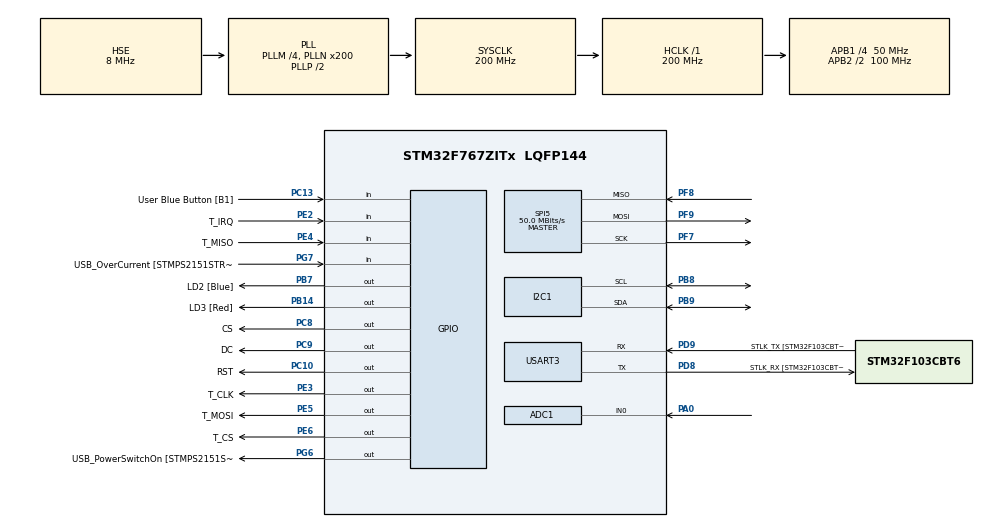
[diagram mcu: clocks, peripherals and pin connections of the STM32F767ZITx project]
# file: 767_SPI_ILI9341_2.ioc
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ADC1.Channel-0\#ChannelRegularConversion=ADC_CHANNEL_0
ADC1.NbrOfConversionFlag=1
ADC1.Rank-0\#ChannelRegularConversion=1
ADC1.SamplingTime-0\#ChannelRegularConversion=ADC_SAMPLETIME_3CYCLES
ADC1.master=1
CORTEX_M7.ART_ACCLERATOR_ENABLE=1
CORTEX_M7.CPU_DCache=Enabled
CORTEX_M7.CPU_ICache=Enabled
CORTEX_M7.PREFETCH_ENABLE=1
I2C1.Timing=0x00C0EAFF
Mcu.Family=STM32F7
Mcu.Name=STM32F767ZITx
Mcu.Package=LQFP144
NVIC.PriorityGroup=NVIC_PRIORITYGROUP_4
NVIC.TIM2_IRQn=true\:1\:0\:true\:false\:true\:true\:true\:true
PA0/WKUP.Signal=ADCx_IN0
PA1.GPIO_Label=RMII_REF_CLK [LAN8742A-CZ-TR_REFCLK0]
PA1.Signal=ETH_REF_CLK
PA13.GPIO_Label=TMS
PA13.Mode=Serial_Wire
PA13.Signal=SYS_JTMS-SWDIO
PA14.GPIO_Label=TCK
PA14.Mode=Serial_Wire
PA14.Signal=SYS_JTCK-SWCLK
PA2.GPIO_Label=RMII_MDIO [LAN8742A-CZ-TR_MDIO]
PA2.Signal=ETH_MDIO
PA7.GPIO_Label=RMII_CRS_DV [LAN8742A-CZ-TR_CRS_DV]
PA7.Signal=ETH_CRS_DV
PB13.GPIO_Label=RMII_TXD1 [LAN8742A-CZ-TR_TXD1]
PB13.Signal=ETH_TXD1
PB14.GPIO_Label=LD3 [Red]
PB14.Signal=GPIO_Output
PB3.GPIO_Label=SWO
PB3.Signal=SYS_JTDO-SWO
PB7.GPIO_Label=LD2 [Blue]
PB7.Signal=GPIO_Output
PB8.Mode=I2C
PB8.Signal=I2C1_SCL
PB9.Mode=I2C
PB9.Signal=I2C1_SDA
PC1.GPIO_Label=RMII_MDC [LAN8742A-CZ-TR_MDC]
PC1.Signal=ETH_MDC
PC10.GPIO_Label=RST
PC10.GPIO_Speed=GPIO_SPEED_FREQ_VERY_HIGH
PC10.Signal=GPIO_Output
PC13.GPIO_Label=User Blue Button [B1]
PC13.Signal=GPIO_Input
PC14/OSC32_IN.Mode=LSE-External-Oscillator
PC14/OSC32_IN.Signal=RCC_OSC32_IN
PC15/OSC32_OUT.Mode=LSE-External-Oscillator
PC15/OSC32_OUT.Signal=RCC_OSC32_OUT
PC4.GPIO_Label=RMII_RXD0 [LAN8742A-CZ-TR_RXD0]
PC4.Signal=ETH_RXD0
PC5.GPIO_Label=RMII_RXD1 [LAN8742A-CZ-TR_RXD1]
PC5.Signal=ETH_RXD1
PC8.GPIO_Label=CS
PC8.GPIO_Speed=GPIO_SPEED_FREQ_VERY_HIGH
PC8.Signal=GPIO_Output
PC9.GPIO_Label=DC
PC9.GPIO_Speed=GPIO_SPEED_FREQ_VERY_HIGH
PC9.Signal=GPIO_Output
PD8.GPIO_Label=STLK_RX [STM32F103CBT6_PA3]
PD8.Mode=Asynchronous
PD8.Signal=USART3_TX
PD9.GPIO_Label=STLK_TX [STM32F103CBT6_PA2]
PD9.Mode=Asynchronous
PD9.Signal=USART3_RX
PE2.GPIO_Label=T_IRQ
PE2.Signal=GPIO_Input
PE3.GPIO_Label=T_CLK
PE3.GPIO_Speed=GPIO_SPEED_FREQ_VERY_HIGH
PE3.Signal=GPIO_Output
PE4.GPIO_Label=T_MISO
PE4.Signal=GPIO_Input
PE5.GPIO_Label=T_MOSI
PE5.GPIO_Speed=GPIO_SPEED_FREQ_VERY_HIGH
PE5.Signal=GPIO_Output
PE6.GPIO_Label=T_CS
PE6.GPIO_Speed=GPIO_SPEED_FREQ_VERY_HIGH
PE6.Signal=GPIO_Output
PF7.Mode=Full_Duplex_Master
PF7.Signal=SPI5_SCK
PF8.Mode=Full_Duplex_Master
PF8.Signal=SPI5_MISO
PF9.Mode=Full_Duplex_Master
PF9.Signal=SPI5_MOSI
PG11.GPIO_Label=RMII_TX_EN [LAN8742A-CZ-TR_TXEN]
PG11.Signal=ETH_TX_EN
PG13.GPIO_Label=RMII_TXD0 [LAN8742A-CZ-TR_TXD0]
PG13.Signal=ETH_TXD0
PG6.GPIO_Label=USB_PowerSwitchOn [STMPS2151STR_EN]
PG6.Signal=GPIO_Output
PG7.GPIO_Label=USB_OverCurrent [STMPS2151STR_FAULT]
PG7.Signal=GPIO_Input
PH0/OSC_IN.GPIO_Label=MCO [STM32F103CBT6_PA8]
PH0/OSC_IN.Mode=HSE-External-Clock-Source
PH0/OSC_IN.Signal=RCC_OSC_IN
PH1/OSC_OUT.Mode=HSE-External-Clock-Source
PH1/OSC_OUT.Signal=RCC_OSC_OUT
ProjectManager.HeapSize=0x200
ProjectManager.StackSize=0x400
ProjectManager.TargetToolchain=STM32CubeIDE
RCC.48MHZClocksFreq_Value=24000000
RCC.AHBFreq_Value=200000000
RCC.APB1CLKDivider=RCC_HCLK_DIV4
RCC.APB1Freq_Value=50000000
RCC.APB1TimFreq_Value=100000000
RCC.APB2CLKDivider=RCC_HCLK_DIV2
RCC.APB2Freq_Value=100000000
RCC.APB2TimFreq_Value=200000000
RCC.CortexFreq_Value=200000000
RCC.HCLKFreq_Value=200000000
RCC.HSE_VALUE=8000000
RCC.HSI_VALUE=16000000
RCC.PLLM=4
RCC.PLLMUL=RCC_PLL_MUL9
RCC.PLLN=200
RCC.PLLQ=9
RCC.PLLSourceVirtual=RCC_PLLSOURCE_HSE
RCC.PRESCALERUSB=RCC_USBCLKSOURCE_PLL_DIV1_5
RCC.SYSCLKFreq_VALUE=200000000
RCC.SYSCLKSource=RCC_SYSCLKSOURCE_PLLCLK
RCC.SYSCLKSourceVirtual=RCC_SYSCLKSOURCE_PLLCLK
RCC.USBFreq_Value=44444444.44444445
RCC.VCOOutputFreq_Value=400000000
SH.ADCx_IN0.0=ADC1_IN0,IN0
SPI5.CalculateBaudRate=50.0 MBits/s
SPI5.DataSize=SPI_DATASIZE_8BIT
SPI5.Direction=SPI_DIRECTION_2LINES
SPI5.Mode=SPI_MODE_MASTER
SPI5.NSSPMode=SPI_NSS_PULSE_DISABLE
SPI5.VirtualType=VM_MASTER
TIM1.ClockDivision=TIM_CLOCKDIVISION_DIV2
TIM1.Period=0
TIM1.Prescaler=10000-1
TIM2.Period=100-1
TIM2.Prescaler=1000-1
USART3.VirtualMode-Asynchronous=VM_ASYNC
VP_RNG_VS_RNG.Mode=RNG_Activate
VP_TIM1_VS_ClockSourceINT.Mode=Internal
VP_TIM2_VS_ClockSourceINT.Mode=Internal
board=NUCLEO-F767ZI

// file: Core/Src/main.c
/* USER CODE BEGIN Header */
/**
 ******************************************************************************
 * @file           : main.c
 * @brief          : Main program body
 ******************************************************************************
 * @attention
 *
 * <h2><center>&copy; Copyright (c) 2021 STMicroelectronics.
 * All rights reserved.</center></h2>
 *
 * This software component is licensed by ST under BSD 3-Clause license,
 * the "License"; You may not use this file except in compliance with the
 * License. You may obtain a copy of the License at:
 *                        opensource.org/licenses/BSD-3-Clause
 *
 ******************************************************************************
 */
/* USER CODE END Header */
#include "main.h"
#include "adc.h"
#include "i2c.h"
#include "rng.h"
#include "spi.h"
#include "tim.h"
#include "usart.h"
#include "gpio.h"

/* USER CODE BEGIN Includes */
#include "stdio.h"
#include "ILI9341_Touchscreen.h"

#include "ILI9341_STM32_Driver.h"
#include "ILI9341_GFX.h"
#include "math.h"
#include "snow_tiger.h"
#include "img_view.h"
/* USER CODE END Includes */

/* USER CODE BEGIN PV */
/* Private variables ---------------------------------------------------------*/
float t = 30.0, h = 50.0;
float R = 60, G = 40, B = 80;
uint16_t adc_val = 4095;
uint32_t count;
float bg = 100;
uint16_t bgCode = 0xFFFF;
uint16_t last_adc_val = 4095;
uint16_t x_pos, y_pos;
uint8_t step = 0;
HAL_StatusTypeDef status;
uint16_t CRC16_2(uint8_t*, uint8_t);
uint8_t cmdBuffer[3];
uint8_t dataBuffer[8];
int state = 1;
uint32_t startTime = 0;
uint16_t mixColor;
/* USER CODE END PV */

void SystemClock_Config(void);
/* USER CODE BEGIN PFP */
/* Private function prototypes -----------------------------------------------*/
/* USER CODE END PFP */

int main(void) {

	/* Enable I-Cache---------------------------------------------------------*/
	SCB_EnableICache();

	/* Enable D-Cache---------------------------------------------------------*/
	SCB_EnableDCache();

	/* MCU Configuration--------------------------------------------------------*/

	/* Reset of all peripherals, Initializes the Flash interface and the Systick. */
	HAL_Init();

	/* Configure the system clock */
	SystemClock_Config();

	/* Initialize all configured peripherals */
	MX_GPIO_Init();
	MX_USART3_UART_Init();
	MX_SPI5_Init();
	MX_TIM1_Init();
	MX_RNG_Init();
	MX_I2C1_Init();
	MX_TIM2_Init();
	MX_ADC1_Init();
	/* USER CODE BEGIN 2 */
	ILI9341_Init(); //initial driver setup to drive ili9341
	cmdBuffer[0] = 0x03;
	cmdBuffer[1] = 0x00;
	cmdBuffer[2] = 0x04;
	ILI9341_Fill_Screen(bgCode);
	HAL_TIM_Base_Start_IT(&htim2);
	/* USER CODE END 2 */

	/* Infinite loop */
	while (1) {

		/* USER CODE BEGIN 3 */

		//----------------------------------------------------------PERFORMANCE TEST
//	  		ILI9341_Fill_Screen(WHITE);
//	  		ILI9341_Set_Rotation(SCREEN_HORIZONTAL_1);
//	  		ILI9341_Draw_Text("FPS TEST, 40 loop 2 screens", 10, 10, BLACK, 1, WHITE);
//	  		HAL_Delay(2000);
//	  		ILI9341_Fill_Screen(WHITE);
//
//	  		uint32_t Timer_Counter = 0;
//	  		for(uint32_t j = 0; j < 2; j++)
//	  		{
//	  			HAL_TIM_Base_Start(&htim1);
//	  			for(uint16_t i = 0; i < 10; i++)
//	  			{
//	  				ILI9341_Fill_Screen(WHITE);
//	  				ILI9341_Fill_Screen(BLACK);
//	  			}
//
//	  			//20.000 per second!
//	  			HAL_TIM_Base_Stop(&htim1);
//	  			Timer_Counter += __HAL_TIM_GET_COUNTER(&htim1);
//	  			__HAL_TIM_SET_COUNTER(&htim1, 0);
//	  		}
//	  		Timer_Counter /= 2;
//
//	  		char counter_buff[30];
//	  		ILI9341_Fill_Screen(WHITE);
//	  		ILI9341_Set_Rotation(SCREEN_HORIZONTAL_1);
//	  		sprintf(counter_buff, "Timer counter value: %ld", Timer_Counter*2);
//	  		ILI9341_Draw_Text(counter_buff, 10, 10, BLACK, 1, WHITE);
//
//	  		double seconds_passed = 2*((float)Timer_Counter / 20000);
//	  		sprintf(counter_buff, "Time: %.3f Sec", seconds_passed);
//	  		ILI9341_Draw_Text(counter_buff, 10, 30, BLACK, 2, WHITE);
//
//	  		double timer_float = 20/(((float)Timer_Counter)/20000);	//Frames per sec
//
//	  		sprintf(counter_buff, "FPS:  %.2f", timer_float);
//	  		ILI9341_Draw_Text(counter_buff, 10, 50, BLACK, 2, WHITE);
//	  		double MB_PS = timer_float*240*320*2/1000000;
//	  		sprintf(counter_buff, "MB/S: %.2f", MB_PS);
//	  		ILI9341_Draw_Text(counter_buff, 10, 70, BLACK, 2, WHITE);
//	  		double SPI_utilized_percentage = (MB_PS/(6.25 ))*100;		//50mbits / 8 bits
//	  		sprintf(counter_buff, "SPI Utilized: %.2f", SPI_utilized_percentage);
//	  		ILI9341_Draw_Text(counter_buff, 10, 90, BLACK, 2, WHITE);
//	  		HAL_Delay(10000);
//
//
//	  		static uint16_t x = 0;
//	  		static uint16_t y = 0;
//
//	  		char Temp_Buffer_text[40];
//
//	  //----------------------------------------------------------COUNTING MULTIPLE SEGMENTS
//	  		ILI9341_Fill_Screen(WHITE);
//	  		ILI9341_Set_Rotation(SCREEN_HORIZONTAL_1);
//	  		ILI9341_Draw_Text("Counting multiple segments at once", 10, 10, BLACK, 1, WHITE);
//	  		HAL_Delay(2000);
//	  		ILI9341_Fill_Screen(WHITE);
//
//
//	  		for(uint16_t i = 0; i <= 10; i++)
//	  		{
//	  		sprintf(Temp_Buffer_text, "Counting: %d", i);
//	  		ILI9341_Draw_Text(Temp_Buffer_text, 10, 10, BLACK, 2, WHITE);
//	  		ILI9341_Draw_Text(Temp_Buffer_text, 10, 30, BLUE, 2, WHITE);
//	  		ILI9341_Draw_Text(Temp_Buffer_text, 10, 50, RED, 2, WHITE);
//	  		ILI9341_Draw_Text(Temp_Buffer_text, 10, 70, GREEN, 2, WHITE);
//	  		ILI9341_Draw_Text(Temp_Buffer_text, 10, 90, BLACK, 2, WHITE);
//	  		ILI9341_Draw_Text(Temp_Buffer_text, 10, 110, BLUE, 2, WHITE);
//	  		ILI9341_Draw_Text(Temp_Buffer_text, 10, 130, RED, 2, WHITE);
//	  		ILI9341_Draw_Text(Temp_Buffer_text, 10, 150, GREEN, 2, WHITE);
//	  		ILI9341_Draw_Text(Temp_Buffer_text, 10, 170, WHITE, 2, BLACK);
//	  		ILI9341_Draw_Text(Temp_Buffer_text, 10, 190, BLUE, 2, BLACK);
//	  		ILI9341_Draw_Text(Temp_Buffer_text, 10, 210, RED, 2, BLACK);
//	  		}
//
//	  		HAL_Delay(1000);
//
//	  //----------------------------------------------------------COUNTING SINGLE SEGMENT
//	  		ILI9341_Fill_Screen(WHITE);
//	  		ILI9341_Set_Rotation(SCREEN_HORIZONTAL_1);
//	  		ILI9341_Draw_Text("Counting single segment", 10, 10, BLACK, 1, WHITE);
//	  		HAL_Delay(2000);
//	  		ILI9341_Fill_Screen(WHITE);
//
//	  		for(uint16_t i = 0; i <= 100; i++)
//	  		{
//	  		sprintf(Temp_Buffer_text, "Counting: %d", i);
//	  		ILI9341_Draw_Text(Temp_Buffer_text, 10, 10, BLACK, 3, WHITE);
//	  		}
//
//	  		HAL_Delay(1000);
//
//	  //----------------------------------------------------------ALIGNMENT TEST
//	  		ILI9341_Fill_Screen(WHITE);
//	  		ILI9341_Set_Rotation(SCREEN_HORIZONTAL_1);
//	  		ILI9341_Draw_Text("Rectangle alignment check", 10, 10, BLACK, 1, WHITE);
//	  		HAL_Delay(2000);
//	  		ILI9341_Fill_Screen(WHITE);
//
//	  		ILI9341_Draw_Hollow_Rectangle_Coord(50, 50, 100, 100, BLACK);
//	  		ILI9341_Draw_Filled_Rectangle_Coord(20, 20, 50, 50, BLACK);
//	  		ILI9341_Draw_Hollow_Rectangle_Coord(10, 10, 19, 19, BLACK);
//	  		HAL_Delay(1000);
//
//	  //----------------------------------------------------------LINES EXAMPLE
//	  		ILI9341_Fill_Screen(WHITE);
//	  		ILI9341_Set_Rotation(SCREEN_HORIZONTAL_1);
//	  		ILI9341_Draw_Text("Randomly placed and sized", 10, 10, BLACK, 1, WHITE);
//	  		ILI9341_Draw_Text("Horizontal and Vertical lines", 10, 20, BLACK, 1, WHITE);
//	  		HAL_Delay(2000);
//	  		ILI9341_Fill_Screen(WHITE);
//
//	  		for(uint32_t i = 0; i < 30000; i++)
//	  		{
//	  			uint32_t random_num = 0;
//	  			uint16_t xr = 0;
//	  			uint16_t yr = 0;
//	  			uint16_t radiusr = 0;
//	  			uint16_t colourr = 0;
//	  			random_num = HAL_RNG_GetRandomNumber(&hrng);
//	  			xr = random_num;
//	  			random_num = HAL_RNG_GetRandomNumber(&hrng);
//	  			yr = random_num;
//	  			random_num = HAL_RNG_GetRandomNumber(&hrng);
//	  			radiusr = random_num;
//	  			random_num = HAL_RNG_GetRandomNumber(&hrng);
//	  			colourr = random_num;
//
//	  			xr &= 0x01FF;
//	  			yr &= 0x01FF;
//	  			radiusr &= 0x001F;
//	  			//ili9341_drawpixel(xr, yr, WHITE);
//	  			ILI9341_Draw_Horizontal_Line(xr, yr, radiusr, colourr);
//	  			ILI9341_Draw_Vertical_Line(xr, yr, radiusr, colourr);
//	  		}
//
//	  		HAL_Delay(1000);
//
//	  //----------------------------------------------------------HOLLOW CIRCLES EXAMPLE
//	  		ILI9341_Fill_Screen(WHITE);
//	  		ILI9341_Set_Rotation(SCREEN_HORIZONTAL_1);
//	  		ILI9341_Draw_Text("Randomly placed and sized", 10, 10, BLACK, 1, WHITE);
//	  		ILI9341_Draw_Text("Circles", 10, 20, BLACK, 1, WHITE);
//	  		HAL_Delay(2000);
//	  		ILI9341_Fill_Screen(WHITE);
//
//
//	  		for(uint32_t i = 0; i < 3000; i++)
//	  		{
//	  			uint32_t random_num = 0;
//	  			uint16_t xr = 0;
//	  			uint16_t yr = 0;
//	  			uint16_t radiusr = 0;
//	  			uint16_t colourr = 0;
//	  			random_num = HAL_RNG_GetRandomNumber(&hrng);
//	  			xr = random_num;
//	  			random_num = HAL_RNG_GetRandomNumber(&hrng);
//	  			yr = random_num;
//	  			random_num = HAL_RNG_GetRandomNumber(&hrng);
//	  			radiusr = random_num;
//	  			random_num = HAL_RNG_GetRandomNumber(&hrng);
//	  			colourr = random_num;
//
//	  			xr &= 0x01FF;
//	  			yr &= 0x01FF;
//	  			radiusr &= 0x001F;
//	  			//ili9341_drawpixel(xr, yr, WHITE);
//	  			ILI9341_Draw_Hollow_Circle(xr, yr, radiusr*2, colourr);
//	  		}
//	  		HAL_Delay(1000);
//
//	  //----------------------------------------------------------FILLED CIRCLES EXAMPLE
//	  		ILI9341_Fill_Screen(WHITE);
//	  		ILI9341_Set_Rotation(SCREEN_HORIZONTAL_1);
//	  		ILI9341_Draw_Text("Randomly placed and sized", 10, 10, BLACK, 1, WHITE);
//	  		ILI9341_Draw_Text("Filled Circles", 10, 20, BLACK, 1, WHITE);
//	  		HAL_Delay(2000);
//	  		ILI9341_Fill_Screen(WHITE);
//
//	  		for(uint32_t i = 0; i < 1000; i++)
//	  		{
//	  			uint32_t random_num = 0;
//	  			uint16_t xr = 0;
//	  			uint16_t yr = 0;
//	  			uint16_t radiusr = 0;
//	  			uint16_t colourr = 0;
//	  			random_num = HAL_RNG_GetRandomNumber(&hrng);
//	  			xr = random_num;
//	  			random_num = HAL_RNG_GetRandomNumber(&hrng);
//	  			yr = random_num;
//	  			random_num = HAL_RNG_GetRandomNumber(&hrng);
//	  			radiusr = random_num;
//	  			random_num = HAL_RNG_GetRandomNumber(&hrng);
//	  			colourr = random_num;
//
//	  			xr &= 0x01FF;
//	  			yr &= 0x01FF;
//	  			radiusr &= 0x001F;
//	  			//ili9341_drawpixel(xr, yr, WHITE);
//	  			ILI9341_Draw_Filled_Circle(xr, yr, radiusr/2, colourr);
//	  		}
//	  		HAL_Delay(1000);
//
//	  //----------------------------------------------------------HOLLOW RECTANGLES EXAMPLE
//	  		ILI9341_Fill_Screen(WHITE);
//	  		ILI9341_Set_Rotation(SCREEN_HORIZONTAL_1);
//	  		ILI9341_Draw_Text("Randomly placed and sized", 10, 10, BLACK, 1, WHITE);
//	  		ILI9341_Draw_Text("Rectangles", 10, 20, BLACK, 1, WHITE);
//	  		HAL_Delay(2000);
//	  		ILI9341_Fill_Screen(WHITE);
//
//	  		for(uint32_t i = 0; i < 20000; i++)
//	  		{
//	  			uint32_t random_num = 0;
//	  			uint16_t xr = 0;
//	  			uint16_t yr = 0;
//	  			uint16_t radiusr = 0;
//	  			uint16_t colourr = 0;
//	  			random_num = HAL_RNG_GetRandomNumber(&hrng);
//	  			xr = random_num;
//	  			random_num = HAL_RNG_GetRandomNumber(&hrng);
//	  			yr = random_num;
//	  			random_num = HAL_RNG_GetRandomNumber(&hrng);
//	  			radiusr = random_num;
//	  			random_num = HAL_RNG_GetRandomNumber(&hrng);
//	  			colourr = random_num;
//
//	  			xr &= 0x01FF;
//	  			yr &= 0x01FF;
//	  			radiusr &= 0x001F;
//	  			//ili9341_drawpixel(xr, yr, WHITE);
//	  			ILI9341_Draw_Hollow_Rectangle_Coord(xr, yr, xr+radiusr, yr+radiusr, colourr);
//	  		}
//	  		HAL_Delay(1000);
//
//	  //----------------------------------------------------------FILLED RECTANGLES EXAMPLE
//	  		ILI9341_Fill_Screen(WHITE);
//	  		ILI9341_Set_Rotation(SCREEN_HORIZONTAL_1);
//	  		ILI9341_Draw_Text("Randomly placed and sized", 10, 10, BLACK, 1, WHITE);
//	  		ILI9341_Draw_Text("Filled Rectangles", 10, 20, BLACK, 1, WHITE);
//	  		HAL_Delay(2000);
//	  		ILI9341_Fill_Screen(WHITE);
//
//	  		for(uint32_t i = 0; i < 20000; i++)
//	  		{
//	  			uint32_t random_num = 0;
//	  			uint16_t xr = 0;
//	  			uint16_t yr = 0;
//	  			uint16_t radiusr = 0;
//	  			uint16_t colourr = 0;
//	  			random_num = HAL_RNG_GetRandomNumber(&hrng);
//	  			xr = random_num;
//	  			random_num = HAL_RNG_GetRandomNumber(&hrng);
//	  			yr = random_num;
//	  			random_num = HAL_RNG_GetRandomNumber(&hrng);
//	  			radiusr = random_num;
//	  			random_num = HAL_RNG_GetRandomNumber(&hrng);
//	  			colourr = random_num;
//
//	  			xr &= 0x01FF;
//	  			yr &= 0x01FF;
//	  			radiusr &= 0x001F;
//	  			//ili9341_drawpixel(xr, yr, WHITE);
//	  			ILI9341_Draw_Rectangle(xr, yr, radiusr, radiusr, colourr);
//	  		}
//	  		HAL_Delay(1000);
//
//	  //----------------------------------------------------------INDIVIDUAL PIXEL EXAMPLE
//
//	  		ILI9341_Fill_Screen(WHITE);
//	  		ILI9341_Set_Rotation(SCREEN_HORIZONTAL_1);
//	  		ILI9341_Draw_Text("Slow draw by selecting", 10, 10, BLACK, 1, WHITE);
//	  		ILI9341_Draw_Text("and adressing pixels", 10, 20, BLACK, 1, WHITE);
//	  		HAL_Delay(2000);
//	  		ILI9341_Fill_Screen(WHITE);
//
//
//	  		x = 0;
//	  		y = 0;
//	  		while (y < 240)
//	  		{
//	  		while ((x < 320) && (y < 240))
//	  		{
//
//	  			if(x % 2)
//	  			{
//	  				ILI9341_Draw_Pixel(x, y, BLACK);
//	  			}
//
//	  			x++;
//	  		}
//
//	  			y++;
//	  			x = 0;
//	  		}
//
//	  		x = 0;
//	  		y = 0;
//
//
//	  		while (y < 240)
//	  		{
//	  		while ((x < 320) && (y < 240))
//	  		{
//
//	  			if(y % 2)
//	  			{
//	  				ILI9341_Draw_Pixel(x, y, BLACK);
//	  			}
//
//	  			x++;
//	  		}
//
//	  			y++;
//	  			x = 0;
//	  		}
//	  		HAL_Delay(2000);
//
//	  //----------------------------------------------------------INDIVIDUAL PIXEL EXAMPLE
//	  		ILI9341_Fill_Screen(WHITE);
//	  		ILI9341_Set_Rotation(SCREEN_HORIZONTAL_1);
//	  		ILI9341_Draw_Text("Random position and colour", 10, 10, BLACK, 1, WHITE);
//	  		ILI9341_Draw_Text("500000 pixels", 10, 20, BLACK, 1, WHITE);
//	  		HAL_Delay(2000);
//	  		ILI9341_Fill_Screen(WHITE);
//
//
//	  		for(uint32_t i = 0; i < 500000; i++)
//	  		{
//	  			uint32_t random_num = 0;
//	  			uint16_t xr = 0;
//	  			uint16_t yr = 0;
//	  			random_num = HAL_RNG_GetRandomNumber(&hrng);
//	  			xr = random_num;
//	  			random_num = HAL_RNG_GetRandomNumber(&hrng);
//	  			yr = random_num;
//	  			uint16_t color = HAL_RNG_GetRandomNumber(&hrng);
//
//	  			xr &= 0x01FF;
//	  			yr &= 0x01FF;
//	  			ILI9341_Draw_Pixel(xr, yr, color);
//	  		}
//	  		HAL_Delay(2000);
//
//	  //----------------------------------------------------------565 COLOUR EXAMPLE, Grayscale
//	  		ILI9341_Fill_Screen(WHITE);
//	  		ILI9341_Set_Rotation(SCREEN_HORIZONTAL_1);
//	  		ILI9341_Draw_Text("Colour gradient", 10, 10, BLACK, 1, WHITE);
//	  		ILI9341_Draw_Text("Grayscale", 10, 20, BLACK, 1, WHITE);
//	  		HAL_Delay(2000);
//
//
//	  		for(uint16_t i = 0; i <= (320); i++)
//	  		{
//	  			uint16_t Red = 0;
//	  			uint16_t Green = 0;
//	  			uint16_t Blue = 0;
//
//	  			Red = i/(10);
//	  			Red <<= 11;
//	  			Green = i/(5);
//	  			Green <<= 5;
//	  			Blue = i/(10);
//
//
//
//	  			uint16_t RGB_color = Red + Green + Blue;
//	  			ILI9341_Draw_Rectangle(i, x, 1, 240, RGB_color);
//
//	  		}
//	  		HAL_Delay(2000);
//
//	  //----------------------------------------------------------IMAGE EXAMPLE, Snow Tiger
//	  		ILI9341_Fill_Screen(WHITE);
//	  		ILI9341_Set_Rotation(SCREEN_HORIZONTAL_1);
//	  		ILI9341_Draw_Text("RGB Picture", 10, 10, BLACK, 1, WHITE);
//	  		ILI9341_Draw_Text("TIGER", 10, 20, BLACK, 1, WHITE);
//	  		HAL_Delay(2000);
//	  		ILI9341_Draw_Image((const char*)snow_tiger, SCREEN_VERTICAL_2);
//	  		ILI9341_Set_Rotation(SCREEN_VERTICAL_1);
//	  		HAL_Delay(5000);
//
//
//	  //----------------------------------------------------------TOUCHSCREEN EXAMPLE
//	  		ILI9341_Fill_Screen(WHITE);
//	  		ILI9341_Set_Rotation(SCREEN_HORIZONTAL_1);
//	  		ILI9341_Draw_Text("Touchscreen", 10, 10, BLACK, 2, WHITE);
//	  		ILI9341_Draw_Text("Touch to draw", 10, 30, BLACK, 2, WHITE);
//	  		ILI9341_Set_Rotation(SCREEN_VERTICAL_1);
//
//
//	  		while(1)
//	  		{
//	  			HAL_Delay(20);
//
//	  			if(TP_Touchpad_Pressed())
//	          {
//
//	  					uint16_t x_pos = 0;
//	  					uint16_t y_pos = 0;
//
//
//	  					HAL_GPIO_WritePin(GPIOB, LD3_Pin|LD2_Pin, GPIO_PIN_SET);
//
//	            uint16_t position_array[2];
//
//	  					if(TP_Read_Coordinates(position_array) == TOUCHPAD_DATA_OK)
//	  					{
//	  					x_pos = position_array[0];
//	  					y_pos = position_array[1];
//	  					ILI9341_Draw_Filled_Circle(x_pos, y_pos, 2, BLACK);
//
//	  					ILI9341_Set_Rotation(SCREEN_HORIZONTAL_1);
//	  					char counter_buff[30];
//	  					sprintf(counter_buff, "POS X: %.3d", x_pos);
//	  					ILI9341_Draw_Text(counter_buff, 10, 80, BLACK, 2, WHITE);
//	  					sprintf(counter_buff, "POS Y: %.3d", y_pos);
//	  					ILI9341_Draw_Text(counter_buff, 10, 120, BLACK, 2, WHITE);
//	  					ILI9341_Set_Rotation(SCREEN_VERTICAL_1);
//	  					}
//
//	  					ILI9341_Draw_Pixel(x_pos, y_pos, BLACK);
//
//	          }
//	  			else
//	  			{
//	  				HAL_GPIO_WritePin(GPIOB, LD3_Pin|LD2_Pin, GPIO_PIN_RESET);
//	  			}
//
//	  		}
//
//		HAL_ADC_Start(&hadc1);
//		while (HAL_ADC_PollForConversion(&hadc1, 100) != HAL_OK) {
//		}
//		adc_val = HAL_ADC_GetValue(&hadc1);
//		adc_val = average_16(adc_val);
//		if (abs(last_adc_val - adc_val) > 150) {
//			last_adc_val = adc_val;
//			bg = (float) adc_val / 4095.0 * 100.0;
//			if (bg < 20) {
//				bg = 20;
//			}
//			bgCode = ((int) (31.0 / 100.0 * bg) << 11)
//					+ ((int) (63.0 / 100.0 * bg) << 5)
//					+ ((int) (31.0 / 100.0 * bg));
//			ILI9341_Fill_Screen(bgCode);
//		}
		if (state == 1) {
			display1();
		} else if (state == 2) {
			display2();
			if (count - startTime > 5000) {
				state = 1;
				ILI9341_Fill_Screen(bgCode);
			}
		}
	}
	/* USER CODE END 3 */
}

void SystemClock_Config(void) {
	RCC_OscInitTypeDef RCC_OscInitStruct = { 0 };
	RCC_ClkInitTypeDef RCC_ClkInitStruct = { 0 };
	RCC_PeriphCLKInitTypeDef PeriphClkInitStruct = { 0 };

	/** Configure LSE Drive Capability
	 */
	HAL_PWR_EnableBkUpAccess();
	/** Configure the main internal regulator output voltage
	 */
	__HAL_RCC_PWR_CLK_ENABLE();
	__HAL_PWR_VOLTAGESCALING_CONFIG(PWR_REGULATOR_VOLTAGE_SCALE1);
	/** Initializes the RCC Oscillators according to the specified parameters
	 * in the RCC_OscInitTypeDef structure.
	 */
	RCC_OscInitStruct.OscillatorType = RCC_OSCILLATORTYPE_HSE;
	RCC_OscInitStruct.HSEState = RCC_HSE_BYPASS;
	RCC_OscInitStruct.PLL.PLLState = RCC_PLL_ON;
	RCC_OscInitStruct.PLL.PLLSource = RCC_PLLSOURCE_HSE;
	RCC_OscInitStruct.PLL.PLLM = 4;
	RCC_OscInitStruct.PLL.PLLN = 200;
	RCC_OscInitStruct.PLL.PLLP = RCC_PLLP_DIV2;
	RCC_OscInitStruct.PLL.PLLQ = 9;
	RCC_OscInitStruct.PLL.PLLR = 2;
	if (HAL_RCC_OscConfig(&RCC_OscInitStruct) != HAL_OK) {
		Error_Handler();
	}
	/** Activate the Over-Drive mode
	 */
	if (HAL_PWREx_EnableOverDrive() != HAL_OK) {
		Error_Handler();
	}
	/** Initializes the CPU, AHB and APB buses clocks
	 */
	RCC_ClkInitStruct.ClockType = RCC_CLOCKTYPE_HCLK | RCC_CLOCKTYPE_SYSCLK
			| RCC_CLOCKTYPE_PCLK1 | RCC_CLOCKTYPE_PCLK2;
	RCC_ClkInitStruct.SYSCLKSource = RCC_SYSCLKSOURCE_PLLCLK;
	RCC_ClkInitStruct.AHBCLKDivider = RCC_SYSCLK_DIV1;
	RCC_ClkInitStruct.APB1CLKDivider = RCC_HCLK_DIV4;
	RCC_ClkInitStruct.APB2CLKDivider = RCC_HCLK_DIV2;

	if (HAL_RCC_ClockConfig(&RCC_ClkInitStruct, FLASH_LATENCY_6) != HAL_OK) {
		Error_Handler();
	}
	PeriphClkInitStruct.PeriphClockSelection = RCC_PERIPHCLK_USART3
			| RCC_PERIPHCLK_I2C1 | RCC_PERIPHCLK_CLK48;
	PeriphClkInitStruct.Usart3ClockSelection = RCC_USART3CLKSOURCE_PCLK1;
	PeriphClkInitStruct.I2c1ClockSelection = RCC_I2C1CLKSOURCE_PCLK1;
	PeriphClkInitStruct.Clk48ClockSelection = RCC_CLK48SOURCE_PLL;
	if (HAL_RCCEx_PeriphCLKConfig(&PeriphClkInitStruct) != HAL_OK) {
		Error_Handler();
	}
}

/* USER CODE BEGIN 4 */
int average_16(int x) {
	static int samples[16];
	static int i = 0;
	static int totle = 0;

	totle += x - samples[i];
	samples[i] = x;

	i = (i == 15 ? 0 : i + 1);

	return totle >> 4;
}
uint16_t CRC16_2(uint8_t *ptr, uint8_t lenght) {
	uint16_t crc = 0xFFFF;
	uint8_t s = 0x00;

	while (lenght--) {
		crc ^= *ptr++;
		for (s = 0; s < 8; s++) {
			if ((crc & 0x01) != 0) {
				crc >>= 1;
				crc ^= 0xA001;
			} else {
				crc >>= 1;
			}
		}
	}
	return crc;
}

void display1() {
	HAL_I2C_Master_Transmit(&hi2c1, 0x5c << 1, cmdBuffer, 3, 200);
	HAL_I2C_Master_Transmit(&hi2c1, 0x5c << 1, cmdBuffer, 3, 200);
	HAL_Delay(1);
	HAL_I2C_Master_Receive(&hi2c1, 0x5c << 1, dataBuffer, 8, 200);
	uint16_t Rcrc = dataBuffer[7] << 8;
	Rcrc += dataBuffer[6];
	if (Rcrc == CRC16_2(dataBuffer, 6)) {
		uint16_t temp = ((dataBuffer[4] & 0x7F) << 8) + dataBuffer[5];
		t = temp / 10.0;
		t = (((dataBuffer[4] & 0x80) >> 7) == 1) ? (t * (-1)) : t;

		uint16_t humi = (dataBuffer[2] << 8) + dataBuffer[3];
		h = humi / 10.0;
	}

	ILI9341_Set_Rotation(SCREEN_HORIZONTAL_1);
	char Temp_Buffer_text[20];
	sprintf(Temp_Buffer_text, "%.1f C", t);
	ILI9341_Draw_Text(Temp_Buffer_text, 15, 20, BLACK, 2, bgCode);
	sprintf(Temp_Buffer_text, "%.1f %%RH", h);
	ILI9341_Draw_Text(Temp_Buffer_text, 170, 20, BLACK, 2, bgCode);

	ILI9341_Set_Rotation(SCREEN_HORIZONTAL_2);
	uint16_t position_array[2];
	if (TP_Touchpad_Pressed()) {
		if (TP_Read_Coordinates(position_array) == TOUCHPAD_DATA_OK) {
			y_pos = position_array[0];
			x_pos = position_array[1];
			//ILI9341_Fill_Screen(bgCode);
			y_pos = 240-y_pos;
//			sprintf(Temp_Buffer_text, "%d %d", x_pos,y_pos);
//			ILI9341_Draw_Text(Temp_Buffer_text, 10, 65, BLACK, 2, bgCode);
			if (sqrt(pow(x_pos - 30, 2) + pow(y_pos - 85, 2)) <= 22.0) {
				R += 10.0;
				if (R > 100) {
					R = 0;
					ILI9341_Fill_Screen(bgCode);
				}
			}
			if (sqrt(pow(x_pos - 30, 2) + pow(y_pos - 145, 2)) <= 22.0) {
				G += 10.0;
				if (G > 100) {
					G = 0;
					ILI9341_Fill_Screen(bgCode);
				}
			}
			if (sqrt(pow(x_pos - 30, 2) + pow(y_pos - 205, 2)) <= 22.0) {
				B += 10.0;
				if (B > 100) {
					B = 0;
					ILI9341_Fill_Screen(bgCode);
				}
			}
			if (sqrt(pow(x_pos - 130, 2) + pow(y_pos - 32, 2)) <= 25.0) {
				state = 2;
				startTime = count;
			}

		}
	}
	ILI9341_Set_Rotation(SCREEN_HORIZONTAL_1);
	ILI9341_Draw_Filled_Circle(30, 85, 22, RED); //x y
	ILI9341_Draw_Filled_Circle(30, 145, 22, GREEN);
	ILI9341_Draw_Filled_Circle(30, 205, 22, BLUE);

	mixColor = (((int) (31.0 * R / 100.0)) << 11)
			+ (((int) (63.0 * G / 100.0)) << 5) + (((int) (31.0 * B / 100.0)));
	ILI9341_Draw_Filled_Circle(130, 32, 25, mixColor);

	int w1, w2;
	w1 = (int) (R * 1.35);
	w2 = 135 - w1;
	ILI9341_Draw_Rectangle(60, 70, w1, 30, RED);
	ILI9341_Draw_Rectangle(60 + w1, 70, w2, 30, 0xFC10);
	sprintf(Temp_Buffer_text, "%.0f %%", R);
	ILI9341_Draw_Text(Temp_Buffer_text, 205, 77, BLACK, 2, bgCode);

	w1 = (int) (G * 1.35);
	w2 = 135 - w1;
	ILI9341_Draw_Rectangle(60, 130, w1, 30, GREEN);
	ILI9341_Draw_Rectangle(60 + w1, 130, w2, 30, 0x87F0);
	sprintf(Temp_Buffer_text, "%.0f %%", G);
	ILI9341_Draw_Text(Temp_Buffer_text, 205, 137, BLACK, 2, bgCode);

	w1 = (int) (B * 1.35);
	w2 = 135 - w1;
	ILI9341_Draw_Rectangle(60, 190, w1, 30, BLUE);
	ILI9341_Draw_Rectangle(60 + w1, 190, w2, 30, 0x841F);
	sprintf(Temp_Buffer_text, "%.0f %%", B);
	ILI9341_Draw_Text(Temp_Buffer_text, 205, 197, BLACK, 2, bgCode);
	if (state == 2) {
		ILI9341_Fill_Screen(bgCode);
		ILI9341_Draw_Image((const char*) img_view, SCREEN_VERTICAL_1);
	}
}
void display2() {
	ILI9341_Set_Rotation(SCREEN_HORIZONTAL_1);
//	ILI9341_Draw_Image((const char*) img_view, SCREEN_VERTICAL_1);
	ILI9341_Set_Rotation(SCREEN_HORIZONTAL_1);
	//ILI9341_Draw_Rectangle(150, 50, 300, 300, 0xFFFF);
	ILI9341_Draw_Text("Group No.16", 130, 100, mixColor, 2, bgCode);
	ILI9341_Draw_Text("Anawin", 130, 120, mixColor, 2, bgCode);
	ILI9341_Draw_Text("Thamja", 130, 140, mixColor, 2, bgCode);
	ILI9341_Draw_Text("roentip", 130, 160, mixColor, 2, bgCode);
	ILI9341_Draw_Text("64010965", 130, 180, mixColor, 2, bgCode);
	if (TP_Touchpad_Pressed()) {
		state = 1;
		ILI9341_Fill_Screen(bgCode);
	}
}
/* USER CODE END 4 */

void Error_Handler(void) {
	while (1) {
	}
}

/************************ (C) COPYRIGHT STMicroelectronics *****END OF FILE****/
